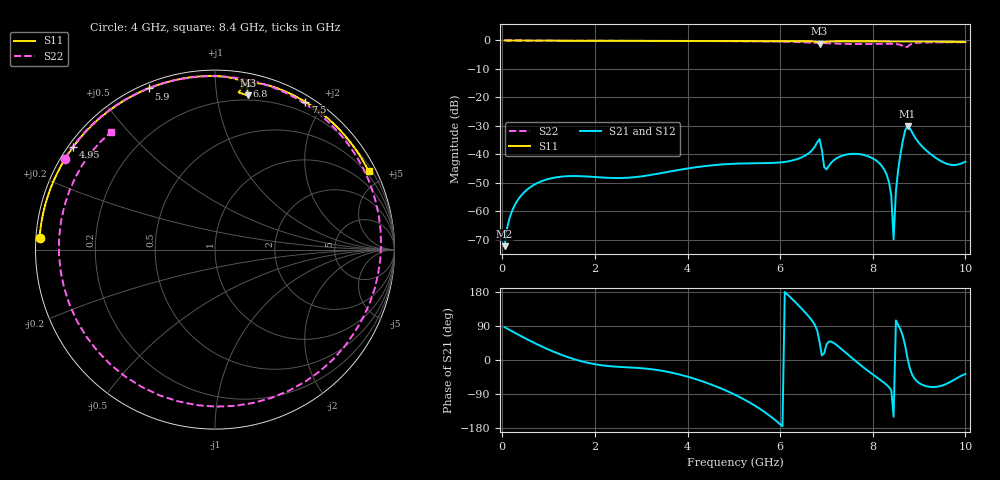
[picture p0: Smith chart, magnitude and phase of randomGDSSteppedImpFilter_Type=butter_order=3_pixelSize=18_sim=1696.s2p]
! freq	dB(S11)	phase(S11)	dB(S12)	phase(S12)
!  dB(S21)	phase(S21)	dB(S22)	phase(S22)
!S-par simulation data
#  GHz  S  DB  R 50
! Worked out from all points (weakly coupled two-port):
!   200 points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, 50 MHz to 10 GHz, reference 50 ohm
!   highest |S21| = -30.10 dB at 8.75 GHz (marker M1); lowest = -72.3 dB at 50 MHz (marker M2)
!   lowest |S11| = -1.1 dB at 6.85 GHz (marker M3), VSWR 15.39, Z = 8.15 + j61.1 ohm
!   |S11| at or under -10 dB: nowhere
!   |S22| runs from -2.4 to 0.0 dB; largest |S21 - S12| = 0
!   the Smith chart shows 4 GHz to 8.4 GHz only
!   S11 on the Smith chart (normalised r, x): 4 GHz: 0.01, +0.03; 4.95 GHz: 0.01, +0.32; 5.9 GHz: 0.02, +0.67; 6.8 GHz: 0.09, +1.21; 7.5 GHz: 0.08, +1.78; 8.4 GHz: 0.37, +4.13
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0.05  -0.00 -3.0  -72.32 86.6  -72.32 86.6  -0.00 -3.8
0.2  -0.02 -12.0  -60.37 76.5  -60.37 76.5  -0.02 -15.1
0.5  -0.04 -29.6  -52.95 56.9  -52.95 56.9  -0.05 -37.2
1.75  -0.11 -95.7  -47.75 -4.7  -47.75 -4.7  -0.12 -114.6
3.4  -0.16 -162.8  -46.72 -27.5  -46.72 -27.5  -0.16 172.8
4  -0.18 176.1  -45.00 -44.0  -45.00 -44.0  -0.19 148.8
4.95  -0.21 144.2  -43.39 -87.4  -43.39 -87.4  -0.26 107.8
5.05  -0.22 140.9  -43.31 -93.2  -43.31 -93.2  -0.27 103.0
5.9  -0.25 112.4  -43.00 -159.3  -43.00 -159.3  -0.41 54.7
6.7  -0.35 83.8  -38.38 102.0  -38.38 102.0  -0.76 -13.8
6.8  -0.61 79.0  -35.82 77.7  -35.82 77.7  -0.84 -24.9
6.85  -1.13 78.0  -34.67 48.8  -34.67 48.8  -0.88 -30.6
7  -0.44 77.6  -45.34 40.7  -45.34 40.7  -0.97 -49.1
7.5  -0.31 58.6  -39.94 10.4  -39.94 10.4  -1.24 -118.0
7.9  -0.32 44.5  -40.72 -29.0  -40.72 -29.0  -1.22 -172.2
8.35  -0.35 28.8  -49.80 -71.5  -49.80 -71.5  -1.15 136.6
8.4  -0.35 27.0  -54.63 -80.2  -54.63 -80.2  -1.16 131.5
8.45  -0.36 25.3  -69.89 -149.7  -69.89 -149.7  -1.19 126.5
8.55  -0.37 21.8  -45.23 92.1  -45.23 92.1  -1.36 116.5
8.75  -0.39 15.3  -30.10 4.5  -30.10 4.5  -2.21 108.6
9.15  -0.39 1.4  -38.59 -69.0  -38.59 -69.0  -0.72 76.0
10  -0.52 -27.0  -42.60 -36.7  -42.60 -36.7  -0.64 24.3
